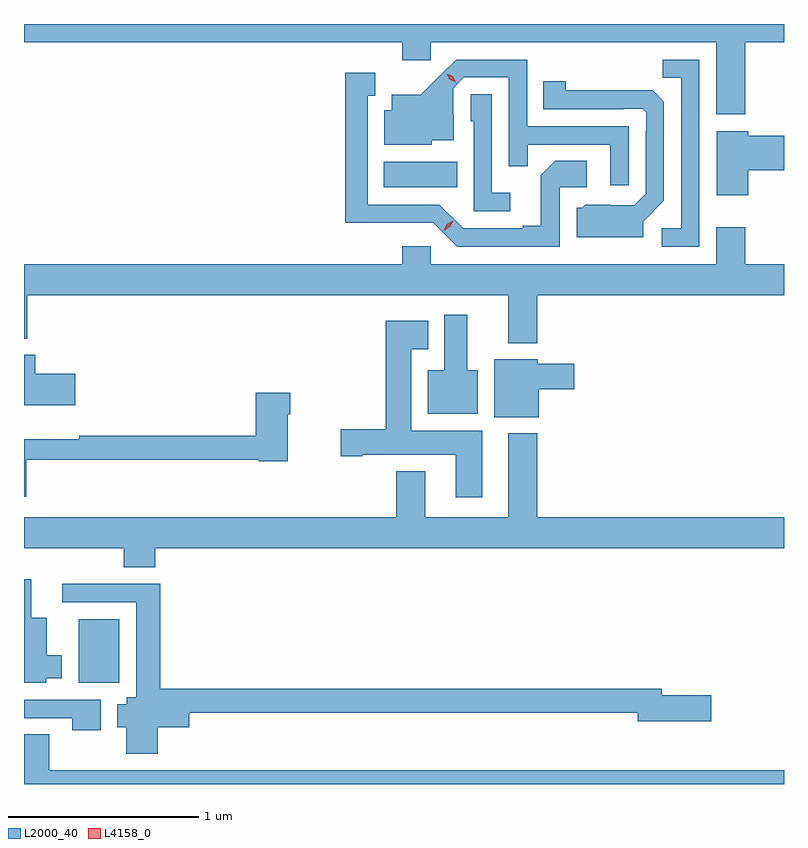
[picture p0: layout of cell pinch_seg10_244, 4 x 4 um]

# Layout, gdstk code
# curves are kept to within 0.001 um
import gdstk
lib = gdstk.Library(unit=1e-6, precision=1e-09)
def R(c, l, rs):  # rectangles x0, y0, x1, y1
    for r in rs: c.add(gdstk.rectangle(r[:2], r[2:], *l))
def P(c, l, *ps):  # polygons
    for p in ps: c.add(gdstk.Polygon(p, *l))
L2000_40 = (2000, 40)
L4158_0 = (4158, 0)

pinch_seg10_244 = lib.new_cell('pinch_seg10_244')
R(pinch_seg10_244, L2000_40, [(579.764,1299.608,579.976,1299.943), (581.369,1302.218,581.756,1302.352)])
P(pinch_seg10_244, L2000_40, [(583.271,1302.98),(583.475,1302.98),(583.475,1303.076),(579.475,1303.076),(579.475,1302.98),(581.465,1302.98),(581.465,1302.885),(581.616,1302.885),(581.616,1302.98),(583.118,1302.98),(583.118,1302.6),(583.271,1302.6)],
  [(583.029,1302.888),(582.838,1302.888),(582.838,1302.793),(582.933,1302.793),(582.933,1302),(582.831,1302),(582.831,1301.904),(583.029,1301.904)],
  [(582.657,1302.537),(582.123,1302.537),(582.123,1302.888),(581.75,1302.888),(581.563,1302.703),(581.411,1302.703),(581.411,1302.622),(581.372,1302.622),(581.372,1302.44),(581.622,1302.44),(581.622,1302.464),(581.737,1302.464),(581.737,1302.596),(581.733,1302.596),(581.733,1302.738),(581.79,1302.795),(582.027,1302.795),(582.027,1302.328),(582.125,1302.328),(582.125,1302.441),(582.561,1302.441),(582.561,1302.228),(582.657,1302.228)],
  [(582.294,1302.216),(582.436,1302.216),(582.436,1302.356),(582.271,1302.356),(582.195,1302.28),(582.195,1302.013),(582.101,1302.013),(582.101,1302),(581.787,1302),(581.661,1302.126),(581.284,1302.126),(581.284,1302.699),(581.323,1302.699),(581.323,1302.82),(581.166,1302.82),(581.166,1302.029),(581.628,1302.03),(581.754,1301.904),(582.294,1301.904)],
  [(582.733,1302.036),(582.843,1302.146),(582.843,1302.668),(582.784,1302.727),(582.327,1302.728),(582.327,1302.775),(582.208,1302.775),(582.208,1302.627),(582.632,1302.627),(582.632,1302.63),(582.732,1302.63),(582.75,1302.612),(582.75,1302.512),(582.747,1302.512),(582.747,1302.183),(582.687,1302.123),(582.43,1302.124),(582.414,1302.108),(582.383,1302.108),(582.383,1301.954),(582.733,1301.954)],
  [(582.034,1302.187),(581.937,1302.187),(581.937,1302.707),(581.826,1302.707),(581.826,1302.564),(581.841,1302.564),(581.841,1302.09),(582.034,1302.09)],
  [(583.288,1302.305),(583.475,1302.305),(583.475,1302.488),(583.288,1302.488),(583.288,1302.511),(583.121,1302.511),(583.121,1302.174),(583.288,1302.174)],
  [(582.176,1301.648),(583.475,1301.648),(583.475,1301.812),(583.271,1301.812),(583.271,1302.007),(583.118,1302.007),(583.118,1301.812),(581.616,1301.812),(581.616,1301.905),(581.465,1301.905),(581.465,1301.812),(579.475,1301.812),(579.475,1301.42),(579.491,1301.42),(579.491,1301.648),(582.023,1301.648),(582.023,1301.396),(582.176,1301.396)],
  [(581.863,1301.254),(581.809,1301.254),(581.809,1301.545),(581.687,1301.545),(581.687,1301.254),(581.6,1301.254),(581.6,1301.024),(581.863,1301.024)],
  [(581.887,1300.936),(581.512,1300.936),(581.512,1301.363),(581.602,1301.363),(581.602,1301.515),(581.378,1301.515),(581.378,1300.943),(581.142,1300.943),(581.142,1300.801),(581.254,1300.801),(581.254,1300.808),(581.747,1300.808),(581.747,1300.584),(581.887,1300.584)],
  [(579.745,1301.235),(579.533,1301.235),(579.533,1301.335),(579.475,1301.335),(579.475,1301.069),(579.745,1301.069)],
  [(582.184,1301.153),(582.37,1301.153),(582.37,1301.287),(582.18,1301.287),(582.18,1301.311),(581.951,1301.311),(581.951,1301.006),(582.184,1301.006)],
  [(579.488,1300.782),(580.71,1300.782),(580.71,1300.774),(580.864,1300.774),(580.864,1301.021),(580.877,1301.021),(580.877,1301.134),(580.694,1301.134),(580.694,1300.91),(579.765,1300.91),(579.765,1300.891),(579.475,1300.891),(579.475,1300.587),(579.488,1300.587)],
  [(580.166,1300.316),(583.475,1300.316),(583.475,1300.48),(582.176,1300.48),(582.176,1300.921),(582.023,1300.921),(582.023,1300.48),(581.587,1300.48),(581.587,1300.723),(581.435,1300.723),(581.435,1300.48),(579.475,1300.48),(579.475,1300.316),(580.001,1300.316),(580.001,1300.217),(580.166,1300.217)],
  [(579.591,1299.632),(579.673,1299.632),(579.673,1299.754),(579.595,1299.754),(579.595,1299.952),(579.514,1299.952),(579.514,1300.153),(579.475,1300.153),(579.475,1299.608),(579.591,1299.608)],
  [(580.18,1299.374),(580.345,1299.374),(580.345,1299.45),(582.704,1299.45),(582.704,1299.407),(583.093,1299.407),(583.093,1299.542),(582.832,1299.542),(582.832,1299.578),(580.193,1299.578),(580.193,1300.13),(579.675,1300.13),(579.675,1300.032),(580.067,1300.032),(580.067,1299.533),(580.017,1299.533),(580.017,1299.496),(579.965,1299.496),(579.965,1299.374),(580.013,1299.374),(580.013,1299.234),(580.18,1299.234)],
  [(579.88,1299.519),(579.475,1299.519),(579.475,1299.423),(579.73,1299.423),(579.73,1299.36),(579.88,1299.36)],
  [(579.609,1299.338),(579.475,1299.338),(579.475,1299.076),(583.475,1299.076),(583.475,1299.148),(579.609,1299.148)])
P(pinch_seg10_244, L4158_0, [(581.748,1302.77),(581.717,1302.785),(581.701,1302.815),(581.701,1302.815),(581.701,1302.815),(581.731,1302.8),(581.748,1302.77),(581.748,1302.77)],
  [(581.684,1301.988),(581.684,1301.989),(581.701,1302.022),(581.733,1302.041),(581.733,1302.041),(581.733,1302.04),(581.716,1302.008),(581.684,1301.988)])

lib.write_gds('pinch_seg10_244.gds')
